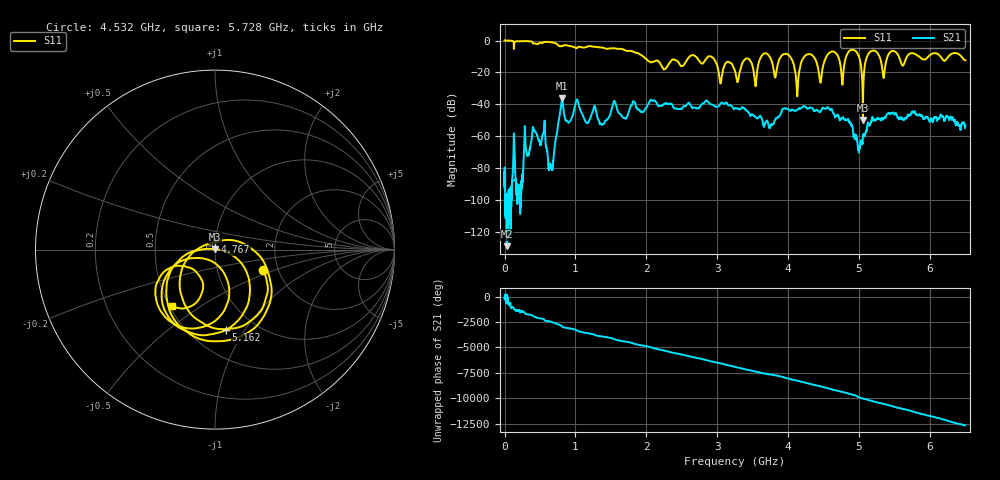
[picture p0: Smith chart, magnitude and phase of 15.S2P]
!Keysight Technologies,E5063A,MY54503115,A.05.08
!Date: Wed Dec 06 19:17:08 2023
!Data & Calibration Information:
!Freq	S11:NONE(--)	S21:NONE(--)	S12:NONE(--)	S22:NONE(--)
# Hz S dB R 50
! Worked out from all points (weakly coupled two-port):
!   10001 points, 100 kHz to 6.5 GHz, reference 50 ohm
!   highest |S21| = -36.31 dB at 810.6 MHz (marker M1); lowest = -129.2 dB at 36.5 MHz (marker M2)
!   lowest |S11| = -49.9 dB at 5.054 GHz (marker M3), VSWR 1.01, Z = 50.2 + j0.269 ohm
!   |S11| at or under -10 dB: 1.957 GHz to 2.612 GHz (655.4 MHz wide, 28.7 % of centre); 2.907 GHz to 3.621 GHz (713.7 MHz wide, 21.9 % of centre); 4.026 GHz to 4.23 GHz (204.3 MHz wide, 4.95 % of centre) (the widest 3 of 13)
!   S12 and S22 are empty: the file has one direction only
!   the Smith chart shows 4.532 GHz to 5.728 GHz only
!   S11 on the Smith chart (normalised r, x): 4.532 GHz: 1.67, -0.42; 4.767 GHz: 1.00, +0.09; 5.162 GHz: 0.73, -0.83; 5.728 GHz: 0.52, -0.39
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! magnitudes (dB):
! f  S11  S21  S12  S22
! 100 kHz  0.0  -91.4  -  -
! 36.5 MHz  0.0  -129.2  -  -
! 235.4 MHz  -0.4  -91.6  -  -
! 421.3 MHz  -1.9  -56.6  -  -
! 653.3 MHz  -1.1  -79.1  -  -
! 810.6 MHz  -3.7  -36.3  -  -
! 1.084 GHz  -4.2  -45.3  -  -
! 2.167 GHz  -12.9  -41.2  -  -
! 3.25 GHz  -19.2  -42.5  -  -
! 3.751 GHz  -11.1  -53.7  -  -
! 3.968 GHz  -8.3  -42.8  -  -
! 4.129 GHz  -35.0  -43.5  -  -
! 4.334 GHz  -9.0  -42.4  -  -
! 4.452 GHz  -26.3  -44.6  -  -
! 4.532 GHz  -10.7  -42.9  -  -
! 4.767 GHz  -27.3  -48.5  -  -
! 4.919 GHz  -5.8  -59.6  -  -
! 5.054 GHz  -49.9  -61.1  -  -
! 5.162 GHz  -6.9  -51.8  -  -
! 5.417 GHz  -8.6  -45.6  -  -
! 5.728 GHz  -8.0  -46.6  -  -
! 6.5 GHz  -12.4  -53.3  -  -
